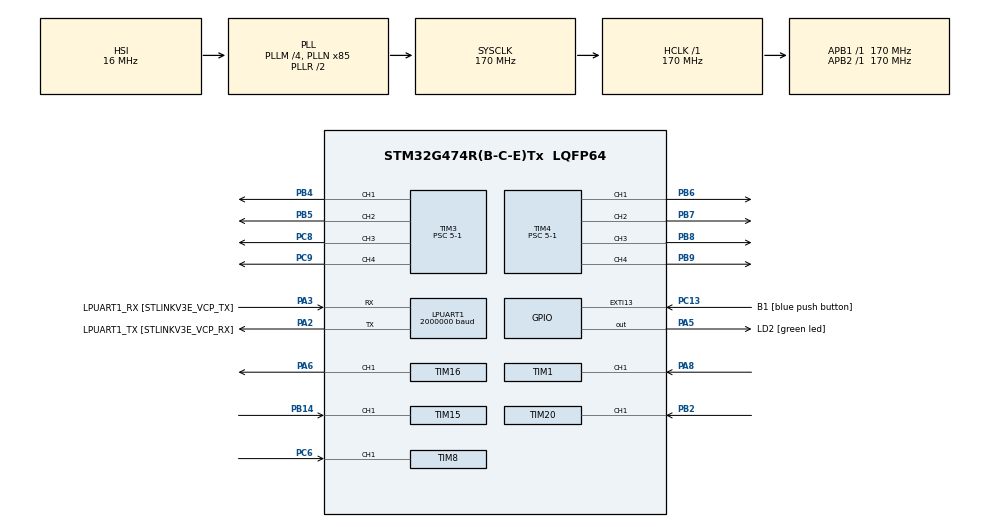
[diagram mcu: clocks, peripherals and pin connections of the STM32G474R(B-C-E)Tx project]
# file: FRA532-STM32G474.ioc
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ARM.CMSIS.5.6.0.CMSISJjCORE=true
ARM.CMSIS.5.6.0.CMSISJjDSP=Library
Dma.LPUART1_RX.1.Direction=DMA_PERIPH_TO_MEMORY
Dma.LPUART1_RX.1.EventEnable=DISABLE
Dma.LPUART1_RX.1.Instance=DMA1_Channel2
Dma.LPUART1_RX.1.MemDataAlignment=DMA_MDATAALIGN_BYTE
Dma.LPUART1_RX.1.MemInc=DMA_MINC_ENABLE
Dma.LPUART1_RX.1.Mode=DMA_CIRCULAR
Dma.LPUART1_RX.1.PeriphDataAlignment=DMA_PDATAALIGN_BYTE
Dma.LPUART1_RX.1.PeriphInc=DMA_PINC_DISABLE
Dma.LPUART1_RX.1.Polarity=HAL_DMAMUX_REQ_GEN_RISING
Dma.LPUART1_RX.1.Priority=DMA_PRIORITY_VERY_HIGH
Dma.LPUART1_RX.1.RequestNumber=1
Dma.LPUART1_RX.1.SignalID=NONE
Dma.LPUART1_RX.1.SyncEnable=DISABLE
Dma.LPUART1_RX.1.SyncPolarity=HAL_DMAMUX_SYNC_NO_EVENT
Dma.LPUART1_RX.1.SyncRequestNumber=1
Dma.LPUART1_RX.1.SyncSignalID=NONE
Dma.LPUART1_TX.2.Direction=DMA_MEMORY_TO_PERIPH
Dma.LPUART1_TX.2.EventEnable=DISABLE
Dma.LPUART1_TX.2.Instance=DMA1_Channel3
Dma.LPUART1_TX.2.MemDataAlignment=DMA_MDATAALIGN_BYTE
Dma.LPUART1_TX.2.MemInc=DMA_MINC_ENABLE
Dma.LPUART1_TX.2.Mode=DMA_NORMAL
Dma.LPUART1_TX.2.PeriphDataAlignment=DMA_PDATAALIGN_BYTE
Dma.LPUART1_TX.2.PeriphInc=DMA_PINC_DISABLE
Dma.LPUART1_TX.2.Polarity=HAL_DMAMUX_REQ_GEN_RISING
Dma.LPUART1_TX.2.Priority=DMA_PRIORITY_VERY_HIGH
Dma.LPUART1_TX.2.RequestNumber=1
Dma.LPUART1_TX.2.SignalID=NONE
Dma.LPUART1_TX.2.SyncEnable=DISABLE
Dma.LPUART1_TX.2.SyncPolarity=HAL_DMAMUX_SYNC_NO_EVENT
Dma.LPUART1_TX.2.SyncRequestNumber=1
Dma.LPUART1_TX.2.SyncSignalID=NONE
Dma.Request0=TIM16_CH1
Dma.Request1=LPUART1_RX
Dma.Request2=LPUART1_TX
Dma.TIM16_CH1.0.Direction=DMA_MEMORY_TO_PERIPH
Dma.TIM16_CH1.0.EventEnable=DISABLE
Dma.TIM16_CH1.0.Instance=DMA1_Channel1
Dma.TIM16_CH1.0.MemDataAlignment=DMA_MDATAALIGN_HALFWORD
Dma.TIM16_CH1.0.MemInc=DMA_MINC_ENABLE
Dma.TIM16_CH1.0.Mode=DMA_NORMAL
Dma.TIM16_CH1.0.PeriphDataAlignment=DMA_PDATAALIGN_HALFWORD
Dma.TIM16_CH1.0.PeriphInc=DMA_PINC_DISABLE
Dma.TIM16_CH1.0.Polarity=HAL_DMAMUX_REQ_GEN_RISING
Dma.TIM16_CH1.0.Priority=DMA_PRIORITY_LOW
Dma.TIM16_CH1.0.RequestNumber=1
Dma.TIM16_CH1.0.SignalID=NONE
Dma.TIM16_CH1.0.SyncEnable=DISABLE
Dma.TIM16_CH1.0.SyncPolarity=HAL_DMAMUX_SYNC_NO_EVENT
Dma.TIM16_CH1.0.SyncRequestNumber=1
Dma.TIM16_CH1.0.SyncSignalID=NONE
FREERTOS.Tasks01=defaultTask,24,4000,StartDefaultTask,Default,NULL,Static,defaultTaskBuffer,defaultTaskControlBlock;secondTask,16,1000,StartSecondTask,Default,NULL,Static,secondTaskBuffer,secondTaskControlBlock
FREERTOS.configENABLE_FPU=1
FREERTOS.configUSE_NEWLIB_REENTRANT=1
LPUART1.BaudRate=2000000
LPUART1.WordLength=UART_WORDLENGTH_8B
Mcu.Family=STM32G4
Mcu.Name=STM32G474R(B-C-E)Tx
Mcu.Package=LQFP64
NVIC.DMA1_Channel1_IRQn=true\:5\:0\:false\:false\:true\:true\:false\:true\:true
NVIC.DMA1_Channel2_IRQn=true\:5\:0\:false\:false\:true\:true\:false\:true\:true
NVIC.DMA1_Channel3_IRQn=true\:5\:0\:false\:false\:true\:true\:false\:true\:true
NVIC.EXTI15_10_IRQn=true\:5\:0\:false\:false\:true\:true\:true\:true\:true
NVIC.LPUART1_IRQn=true\:5\:0\:false\:false\:true\:true\:true\:true\:true
NVIC.PriorityGroup=NVIC_PRIORITYGROUP_4
NVIC.TIM1_BRK_TIM15_IRQn=true\:5\:0\:false\:false\:true\:true\:true\:true\:true
NVIC.TIM1_CC_IRQn=true\:5\:0\:false\:false\:true\:true\:true\:true\:true
NVIC.TIM1_TRG_COM_TIM17_IRQn=true\:5\:0\:false\:false\:true\:true\:true\:true\:true
NVIC.TIM20_CC_IRQn=true\:5\:0\:false\:false\:true\:true\:true\:true\:true
NVIC.TIM6_DAC_IRQn=true\:5\:0\:false\:false\:true\:true\:true\:true\:true
NVIC.TIM7_DAC_IRQn=true\:15\:0\:false\:false\:true\:false\:false\:true\:true
NVIC.TIM8_CC_IRQn=true\:5\:0\:false\:false\:true\:true\:true\:true\:true
NVIC.TimeBase=TIM7_DAC_IRQn
NVIC.TimeBaseIP=TIM7
PA13.GPIO_Label=T_SWDIO
PA13.Mode=Serial_Wire
PA13.Signal=SYS_JTMS-SWDIO
PA14.GPIO_Label=T_SWCLK
PA14.Mode=Serial_Wire
PA14.Signal=SYS_JTCK-SWCLK
PA2.GPIO_Label=LPUART1_TX [STLINKV3E_VCP_RX]
PA2.Mode=Asynchronous
PA2.Signal=LPUART1_TX
PA3.GPIO_Label=LPUART1_RX [STLINKV3E_VCP_TX]
PA3.Mode=Asynchronous
PA3.Signal=LPUART1_RX
PA5.GPIO_Label=LD2 [green led]
PA5.Signal=GPIO_Output
PA6.Signal=S_TIM16_CH1
PA8.Signal=S_TIM1_CH1
PB14.Signal=S_TIM15_CH1
PB2.Signal=S_TIM20_CH1
PB4.Signal=S_TIM3_CH1
PB5.Signal=S_TIM3_CH2
PB6.Signal=S_TIM4_CH1
PB7.Signal=S_TIM4_CH2
PB8-BOOT0.Signal=S_TIM4_CH3
PB9.Signal=S_TIM4_CH4
PC13.GPIO_Label=B1 [blue push button]
PC13.Signal=GPXTI13
PC14-OSC32_IN.Mode=LSE-External-Oscillator
PC14-OSC32_IN.Signal=RCC_OSC32_IN
PC15-OSC32_OUT.Mode=LSE-External-Oscillator
PC15-OSC32_OUT.Signal=RCC_OSC32_OUT
PC6.Signal=S_TIM8_CH1
PC8.Signal=S_TIM3_CH3
PC9.Signal=S_TIM3_CH4
PF0-OSC_IN.Mode=HSE-External-Oscillator
PF0-OSC_IN.Signal=RCC_OSC_IN
PF1-OSC_OUT.Mode=HSE-External-Oscillator
PF1-OSC_OUT.Signal=RCC_OSC_OUT
ProjectManager.HeapSize=0x200
ProjectManager.StackSize=0x400
ProjectManager.TargetToolchain=STM32CubeIDE
RCC.ADC12Freq_Value=170000000
RCC.ADC345Freq_Value=170000000
RCC.AHBFreq_Value=170000000
RCC.APB1Freq_Value=170000000
RCC.APB1TimFreq_Value=170000000
RCC.APB2Freq_Value=170000000
RCC.APB2TimFreq_Value=170000000
RCC.CortexFreq_Value=170000000
RCC.EXTERNAL_CLOCK_VALUE=12288000
RCC.HCLKFreq_Value=170000000
RCC.HSE_VALUE=24000000
RCC.HSI48_VALUE=48000000
RCC.HSI_VALUE=16000000
RCC.PLLM=RCC_PLLM_DIV4
RCC.PLLN=85
RCC.RTCClockSelection=RCC_RTCCLKSOURCE_LSE
RCC.SYSCLKFreq_VALUE=170000000
RCC.SYSCLKSource=RCC_SYSCLKSOURCE_PLLCLK
RCC.USBFreq_Value=170000000
RCC.VCOOutputFreq_Value=340000000
SH.S_TIM15_CH1.0=TIM15_CH1,PWM_Input_1
SH.S_TIM16_CH1.0=TIM16_CH1,PWM Generation1 CH1
SH.S_TIM1_CH1.0=TIM1_CH1,PWM_Input_1
SH.S_TIM20_CH1.0=TIM20_CH1,PWM_Input_1
SH.S_TIM3_CH1.0=TIM3_CH1,PWM Generation1 CH1
SH.S_TIM3_CH2.0=TIM3_CH2,PWM Generation2 CH2
SH.S_TIM3_CH3.0=TIM3_CH3,PWM Generation3 CH3
SH.S_TIM3_CH4.0=TIM3_CH4,PWM Generation4 CH4
SH.S_TIM4_CH1.0=TIM4_CH1,PWM Generation1 CH1
SH.S_TIM4_CH2.0=TIM4_CH2,PWM Generation2 CH2
SH.S_TIM4_CH3.0=TIM4_CH3,PWM Generation3 CH3
SH.S_TIM4_CH4.0=TIM4_CH4,PWM Generation4 CH4
SH.S_TIM8_CH1.0=TIM8_CH1,PWM_Input_1
TIM1.PeriodNoDither=1080-1
TIM1.Prescaler=170-1
TIM15.PeriodNoDither=1100-1
TIM15.Prescaler=170-1
TIM16.Channel=TIM_CHANNEL_1
TIM16.PeriodNoDither=212-1
TIM17.PeriodNoDither=10000-1
TIM17.Prescaler=170-1
TIM20.PeriodNoDither=1080-1
TIM20.Prescaler=170-1
TIM3.Channel-PWM\ Generation1\ CH1=TIM_CHANNEL_1
TIM3.Channel-PWM\ Generation2\ CH2=TIM_CHANNEL_2
TIM3.Channel-PWM\ Generation3\ CH3=TIM_CHANNEL_3
TIM3.Channel-PWM\ Generation4\ CH4=TIM_CHANNEL_4
TIM3.Prescaler=5-1
TIM4.Channel-PWM\ Generation1\ CH1=TIM_CHANNEL_1
TIM4.Channel-PWM\ Generation2\ CH2=TIM_CHANNEL_2
TIM4.Channel-PWM\ Generation3\ CH3=TIM_CHANNEL_3
TIM4.Channel-PWM\ Generation4\ CH4=TIM_CHANNEL_4
TIM4.Prescaler=5-1
TIM6.PeriodNoDither=1000-1
TIM6.Prescaler=170-1
TIM8.PeriodNoDither=1080-1
TIM8.Prescaler=170-1
VP_ARM.CMSIS_VS_CMSISJjCORE_5.3.0_5.6.0.Mode=CMSISJjCORE
VP_ARM.CMSIS_VS_CMSISJjDSP_1.7.0_5.6.0.Mode=CMSISJjDSP
VP_FREERTOS_VS_CMSIS_V2.Mode=CMSIS_V2
VP_SYS_VS_DBSignals.Mode=DisableDeadBatterySignals
VP_SYS_VS_tim7.Mode=TIM7
VP_TIM15_VS_ClockSourceINT.Mode=Internal
VP_TIM16_VS_ClockSourceINT.Mode=Enable_Timer
VP_TIM17_VS_ClockSourceINT.Mode=Enable_Timer
VP_TIM1_VS_ClockSourceINT.Mode=Internal
VP_TIM20_VS_ClockSourceINT.Mode=Internal
VP_TIM3_VS_ClockSourceINT.Mode=Internal
VP_TIM4_VS_ClockSourceINT.Mode=Internal
VP_TIM6_VS_ClockSourceINT.Mode=Enable_Timer
VP_TIM8_VS_ClockSourceINT.Mode=Internal
board=NUCLEO-G474RE

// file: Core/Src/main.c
/* USER CODE BEGIN Header */
/**
 ******************************************************************************
 * @file           : main.c
 * @brief          : Main program body
 ******************************************************************************
 * @attention
 *
 * Copyright (c) 2024 STMicroelectronics.
 * All rights reserved.
 *
 * This software is licensed under terms that can be found in the LICENSE file
 * in the root directory of this software component.
 * If no LICENSE file comes with this software, it is provided AS-IS.
 *
 ******************************************************************************
 */
/* USER CODE END Header */
#include "main.h"
#include "cmsis_os.h"
#include "dma.h"
#include "usart.h"
#include "tim.h"
#include "gpio.h"

/* USER CODE BEGIN Includes */

#include "math.h"
#include "arm_math.h"
#include "motors.h"
#include "encoder.h"
#include "string.h"
#include "kalman.h"
#include "config+var.h"

/* USER CODE END Includes */

/* USER CODE BEGIN PV */

uint32_t ms_count = 0;

/* USER CODE END PV */

void SystemClock_Config(void);
void MX_FREERTOS_Init(void);
/* USER CODE BEGIN PFP */

uint64_t micros();
void Controller(uint8_t motor_ID[], float target_vel[], int num_motors);
void speedRamp();

/* USER CODE END PFP */

int main(void)
{

  /* MCU Configuration--------------------------------------------------------*/

  /* Reset of all peripherals, Initializes the Flash interface and the Systick. */
  HAL_Init();

  /* Configure the system clock */
  SystemClock_Config();

  /* Initialize all configured peripherals */
  MX_GPIO_Init();
  MX_DMA_Init();
  MX_LPUART1_UART_Init();
  MX_TIM3_Init();
  MX_TIM4_Init();
  MX_TIM6_Init();
  MX_TIM15_Init();
  MX_TIM20_Init();
  MX_TIM8_Init();
  MX_TIM16_Init();
  MX_TIM1_Init();
  MX_TIM17_Init();
  /* USER CODE BEGIN 2 */

	// Initialize Kalman filters
	Kalman_Start(&filterA);
	Kalman_Start(&filterB);
	Kalman_Start(&filterC);
	Kalman_Start(&filterD);

	// Start PWM outputs
	HAL_TIM_PWM_Start(&htim3, TIM_CHANNEL_1);
	HAL_TIM_PWM_Start(&htim3, TIM_CHANNEL_2);
	HAL_TIM_PWM_Start(&htim3, TIM_CHANNEL_3);
	HAL_TIM_PWM_Start(&htim3, TIM_CHANNEL_4);
	HAL_TIM_PWM_Start(&htim4, TIM_CHANNEL_1);
	HAL_TIM_PWM_Start(&htim4, TIM_CHANNEL_2);
	HAL_TIM_PWM_Start(&htim4, TIM_CHANNEL_3);
	HAL_TIM_PWM_Start(&htim4, TIM_CHANNEL_4);

	// Start PWM outputs
	HAL_TIM_IC_Start_IT(&htim1, TIM_CHANNEL_1);
	HAL_TIM_IC_Start(&htim1, TIM_CHANNEL_2);
	HAL_TIM_IC_Start_IT(&htim8, TIM_CHANNEL_1);
	HAL_TIM_IC_Start(&htim8, TIM_CHANNEL_2);
	HAL_TIM_IC_Start_IT(&htim15, TIM_CHANNEL_1);
	HAL_TIM_IC_Start(&htim15, TIM_CHANNEL_2);
	HAL_TIM_IC_Start_IT(&htim20, TIM_CHANNEL_1);
	HAL_TIM_IC_Start(&htim20, TIM_CHANNEL_2);

	// Start timer for other functions
	HAL_TIM_Base_Start_IT(&htim6);  // microsecond timer, 1 kHz
	HAL_TIM_Base_Start_IT(&htim17); // Calculate speed timer, 100 Hz

  /* USER CODE END 2 */

  /* Init scheduler */
  osKernelInitialize();

  /* Call init function for freertos objects (in freertos.c) */
  MX_FREERTOS_Init();

  /* Start scheduler */
  osKernelStart();

  /* We should never get here as control is now taken by the scheduler */
  /* Infinite loop */
	while (1) {

	}
}

void SystemClock_Config(void)
{
  RCC_OscInitTypeDef RCC_OscInitStruct = {0};
  RCC_ClkInitTypeDef RCC_ClkInitStruct = {0};

  /** Configure the main internal regulator output voltage
  */
  HAL_PWREx_ControlVoltageScaling(PWR_REGULATOR_VOLTAGE_SCALE1_BOOST);

  /** Initializes the RCC Oscillators according to the specified parameters
  * in the RCC_OscInitTypeDef structure.
  */
  RCC_OscInitStruct.OscillatorType = RCC_OSCILLATORTYPE_HSI;
  RCC_OscInitStruct.HSIState = RCC_HSI_ON;
  RCC_OscInitStruct.HSICalibrationValue = RCC_HSICALIBRATION_DEFAULT;
  RCC_OscInitStruct.PLL.PLLState = RCC_PLL_ON;
  RCC_OscInitStruct.PLL.PLLSource = RCC_PLLSOURCE_HSI;
  RCC_OscInitStruct.PLL.PLLM = RCC_PLLM_DIV4;
  RCC_OscInitStruct.PLL.PLLN = 85;
  RCC_OscInitStruct.PLL.PLLP = RCC_PLLP_DIV2;
  RCC_OscInitStruct.PLL.PLLQ = RCC_PLLQ_DIV2;
  RCC_OscInitStruct.PLL.PLLR = RCC_PLLR_DIV2;
  if (HAL_RCC_OscConfig(&RCC_OscInitStruct) != HAL_OK)
  {
    Error_Handler();
  }

  /** Initializes the CPU, AHB and APB buses clocks
  */
  RCC_ClkInitStruct.ClockType = RCC_CLOCKTYPE_HCLK|RCC_CLOCKTYPE_SYSCLK
                              |RCC_CLOCKTYPE_PCLK1|RCC_CLOCKTYPE_PCLK2;
  RCC_ClkInitStruct.SYSCLKSource = RCC_SYSCLKSOURCE_PLLCLK;
  RCC_ClkInitStruct.AHBCLKDivider = RCC_SYSCLK_DIV1;
  RCC_ClkInitStruct.APB1CLKDivider = RCC_HCLK_DIV1;
  RCC_ClkInitStruct.APB2CLKDivider = RCC_HCLK_DIV1;

  if (HAL_RCC_ClockConfig(&RCC_ClkInitStruct, FLASH_LATENCY_4) != HAL_OK)
  {
    Error_Handler();
  }
}

/* USER CODE BEGIN 4 */

void speedRamp() {
#define RAMP_FREQ_INV 1.0/100.0
	for (int i = 0; i < 4; i++) {
		float diff = target_vel_unramped[i] - target_vel_ramped[i];
		if (diff > 0) {
			// increase speed
			if (diff > RAMP_ACCEL * RAMP_FREQ_INV) {
				target_vel_ramped[i] += RAMP_ACCEL * RAMP_FREQ_INV;
			} else {
				target_vel_ramped[i] += diff * RAMP_FREQ_INV;
			}
		} else if (diff < 0) {
			// decrease speed
			if (diff < -RAMP_ACCEL * RAMP_FREQ_INV) {
				target_vel_ramped[i] -= RAMP_ACCEL * RAMP_FREQ_INV;
			} else {
				target_vel_ramped[i] += diff * RAMP_FREQ_INV;
			}
		}
	}
}

void Controller(uint8_t motor_ID[], float target_vel[], int num_motors) {
	for (int i = 0; i < num_motors; i++) {
		static double u_pid = 0;
		static double integral[4];

		double e[4];
		double u_ffw = 0.458 * target_vel[i];
		e[i] = target_vel[i] - vel[i];

		double proportional = Kp * e[i];
		integral[i] += Ki * e[i] * 0.001;

		if (fabs(e[i]) < 0.2) {
			integral[i] = 0;
		}

		u_pid = proportional + integral[i];

		double u = u_ffw + u_pid;

		if (u > 12) {
			u = 12;
		} else if (u < -12) {
			u = -12;
		}
		volt[i] = u;
		setMotor(motor_ID[i], u * 100 / 12);

		if (motor_ID[i] == 1) {
			vel[i] = SteadyStateKalmanFilter(&filterA, volt[i], motor_speed[i] * 2 * 3.14);
			float ekalmanvel = fabs(motor_speed[i] - vel[i]);
			if (ekalmanvel > 0.67 * volt[i]) {
				filterA.R[0] = 300 - ekalmanvel * 10;
			} else {
				filterA.R[0] = 300 - ekalmanvel * 1000;
			}

			if (filterA.R[0] < 0) {
				filterA.R[0] = 0.001;
			}
		}

		else if (motor_ID[i] == 2) {
			vel[i] = SteadyStateKalmanFilter(&filterB, volt[i], motor_speed[i] * 2 * 3.14);
			float ekalmanvel = fabs(motor_speed[i] - vel[i]);
			if (ekalmanvel > 0.67 * volt[i]) {
				filterB.R[0] = 300 - ekalmanvel * 10;
			} else {
				filterB.R[0] = 300 - ekalmanvel * 1000;
			}

			if (filterB.R[0] < 0) {
				filterB.R[0] = 0.001;
			}
		}

		else if (motor_ID[i] == 3) {
			vel[i] = SteadyStateKalmanFilter(&filterC, volt[i], motor_speed[i] * 2 * 3.14);
			float ekalmanvel = fabs(motor_speed[i] - vel[i]);
			if (ekalmanvel > 0.67 * volt[i]) {
				filterC.R[0] = 300 - ekalmanvel * 10;
			} else {
				filterC.R[0] = 300 - ekalmanvel * 1000;
			}

			if (filterC.R[0] < 0) {
				filterC.R[0] = 0.001;
			}
		}

		else if (motor_ID[i] == 4) {
			vel[i] = SteadyStateKalmanFilter(&filterD, volt[i], motor_speed[i] * 2 * 3.14);
			float ekalmanvel = fabs(motor_speed[i] - vel[i]);
			if (ekalmanvel > 0.67 * volt[i]) {
				filterD.R[0] = 300 - ekalmanvel * 10;
			} else {
				filterD.R[0] = 300 - ekalmanvel * 1000;
			}

			if (filterD.R[0] < 0) {
				filterD.R[0] = 0.001;
			}
		}
	}
}

void HAL_GPIO_EXTI_Callback(uint16_t GPIO_Pin) {
	if (GPIO_Pin == GPIO_PIN_13) {
		static uint32_t last_time = 0;
		uint32_t time = HAL_GetTick();
		if (time - last_time < 200)
			return;
		last_time = time;

		// debounced button
		// insert debug code here
	}
}

uint64_t micros() {
	return ms_count * 1000 + __HAL_TIM_GET_COUNTER(&htim6);
}

void HAL_TIM_IC_CaptureCallback(TIM_HandleTypeDef *htim) {
	encoderCallback(htim);
}

/* USER CODE END 4 */

void HAL_TIM_PeriodElapsedCallback(TIM_HandleTypeDef *htim)
{
  /* USER CODE BEGIN Callback 0 */

	if (htim->Instance == TIM6) {
		// 1 kHz loop
		ms_count++;
		Controller(motor_ID, target_vel_ramped, 4);
	}

	if (htim->Instance == TIM17) {
		calculateMotorSpeed();
		speedRamp(); // remember to set loop frequency
	}

  /* USER CODE END Callback 0 */
  if (htim->Instance == TIM7) {
    HAL_IncTick();
  }
}

void Error_Handler(void)
{
	__disable_irq();
	while (1) {
	}
}

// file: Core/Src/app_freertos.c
/* USER CODE BEGIN Header */
/**
  ******************************************************************************
  * File Name          : app_freertos.c
  * Description        : Code for freertos applications
  ******************************************************************************
  * @attention
  *
  * Copyright (c) 2024 STMicroelectronics.
  * All rights reserved.
  *
  * This software is licensed under terms that can be found in the LICENSE file
  * in the root directory of this software component.
  * If no LICENSE file comes with this software, it is provided AS-IS.
  *
  ******************************************************************************
  */
/* USER CODE END Header */

#include "FreeRTOS.h"
#include "task.h"
#include "main.h"
#include "cmsis_os.h"

/* USER CODE BEGIN Includes */

#include "math.h"
#include "arm_math.h"
#include "WS2812B.h"
#include "usart.h"
#include "motors.h"
#include "config+var.h"
#include <stdio.h>
#include <stdbool.h>

#include <rcl/rcl.h>
#include <rclc/rclc.h>
#include <rclc/executor.h>
#include <rcl/error_handling.h>
#include <uxr/client/transport.h>
#include <rmw_microxrcedds_c/config.h>
#include <rmw_microros/rmw_microros.h>

#include <std_msgs/msg/int32.h>
#include <std_msgs/msg/int64.h>
#include <geometry_msgs/msg/twist.h>
#include <std_msgs/msg/float32_multi_array.h>

/* USER CODE END Includes */

typedef StaticTask_t osStaticThreadDef_t;

/* USER CODE BEGIN PD */

//#define RCCHECK(fn) { rcl_ret_t temp_rc = fn; if((temp_rc != RCL_RET_OK)){error_loop();}}
#define RCSOFTCHECK(fn) { rcl_ret_t temp_rc = fn; if((temp_rc != RCL_RET_OK)){}}

/* USER CODE END PD */

/* USER CODE BEGIN Variables */

uint32_t LEDtime = 0;

float cmd_x = 0;
float cmd_y = 0;
float cmd_w = 0;

/* USER CODE END Variables */
/* Definitions for defaultTask */
osThreadId_t defaultTaskHandle;
uint32_t defaultTaskBuffer[ 4000 ];
osStaticThreadDef_t defaultTaskControlBlock;
const osThreadAttr_t defaultTask_attributes = {
  .name = "defaultTask",
  .stack_mem = &defaultTaskBuffer[0],
  .stack_size = sizeof(defaultTaskBuffer),
  .cb_mem = &defaultTaskControlBlock,
  .cb_size = sizeof(defaultTaskControlBlock),
  .priority = (osPriority_t) osPriorityNormal,
};
/* Definitions for secondTask */
osThreadId_t secondTaskHandle;
uint32_t secondTaskBuffer[ 1000 ];
osStaticThreadDef_t secondTaskControlBlock;
const osThreadAttr_t secondTask_attributes = {
  .name = "secondTask",
  .stack_mem = &secondTaskBuffer[0],
  .stack_size = sizeof(secondTaskBuffer),
  .cb_mem = &secondTaskControlBlock,
  .cb_size = sizeof(secondTaskControlBlock),
  .priority = (osPriority_t) osPriorityBelowNormal,
};

/* USER CODE BEGIN FunctionPrototypes */

bool cubemx_transport_open(struct uxrCustomTransport * transport);
bool cubemx_transport_close(struct uxrCustomTransport * transport);
size_t cubemx_transport_write(struct uxrCustomTransport* transport, const uint8_t * buf, size_t len, uint8_t * err);
size_t cubemx_transport_read(struct uxrCustomTransport* transport, uint8_t* buf, size_t len, int timeout, uint8_t* err);

void * microros_allocate(size_t size, void * state);
void microros_deallocate(void * pointer, void * state);
void * microros_reallocate(void * pointer, size_t size, void * state);
void * microros_zero_allocate(size_t number_of_elements, size_t size_of_element, void * state);

void RGB_Rainbow(uint8_t dobreathing);

void cmd_vel_callback(const void *msgin);
void publish_wheel_speeds();

/* USER CODE END FunctionPrototypes */

void StartDefaultTask(void *argument);
void StartSecondTask(void *argument);

void MX_FREERTOS_Init(void); /* (MISRA C 2004 rule 8.1) */

void MX_FREERTOS_Init(void) {

  /* Create the thread(s) */
  /* creation of defaultTask */
  defaultTaskHandle = osThreadNew(StartDefaultTask, NULL, &defaultTask_attributes);

  /* creation of secondTask */
  secondTaskHandle = osThreadNew(StartSecondTask, NULL, &secondTask_attributes);

}

/* USER CODE BEGIN Header_StartDefaultTask */
/**
  * @brief  Function implementing the defaultTask thread.
  * @param  argument: Not used
  * @retval None
  */

// micro-ROS objects [STEP 1]
rclc_executor_t executor;
rclc_support_t support;
rcl_allocator_t allocator;
rcl_node_t node;

rcl_publisher_t status_publisher;
std_msgs__msg__Int64 msg;

rcl_subscription_t cmd_vel_subscriber;
geometry_msgs__msg__Twist cmd_vel_msg;

rcl_publisher_t wheel_speeds_publisher;
std_msgs__msg__Float32MultiArray wheel_speeds_msg;

// rcl_timer_t defaultTimer;

/* USER CODE END Header_StartDefaultTask */
void StartDefaultTask(void *argument)
{
  /* USER CODE BEGIN StartDefaultTask */
	/* Infinite loop */

	rmw_uros_set_custom_transport(true, (void*) &hlpuart1, cubemx_transport_open, cubemx_transport_close,
			cubemx_transport_write, cubemx_transport_read);

	rcl_allocator_t freeRTOS_allocator = rcutils_get_zero_initialized_allocator();
	freeRTOS_allocator.allocate = microros_allocate;
	freeRTOS_allocator.deallocate = microros_deallocate;
	freeRTOS_allocator.reallocate = microros_reallocate;
	freeRTOS_allocator.zero_allocate = microros_zero_allocate;

	if (!rcutils_set_default_allocator(&freeRTOS_allocator)) {
		printf("Error on default allocators (line %d)\n", __LINE__);
	}

	// Initialize micro-ROS
	allocator = rcl_get_default_allocator();
	rclc_support_init(&support, 0, NULL, &allocator);
	rclc_node_init_default(&node, "STM32_node", "", &support);

	// sync time
	rmw_uros_sync_session(1000);

	// init publishers, subscribers and timers [STEP 2]
	rclc_publisher_init_default(&status_publisher, &node, ROSIDL_GET_MSG_TYPE_SUPPORT(std_msgs, msg, Int64), "STM32_status");
	rclc_subscription_init_default(&cmd_vel_subscriber, &node, ROSIDL_GET_MSG_TYPE_SUPPORT(geometry_msgs, msg, Twist), "cmd_vel");
	rclc_publisher_init_default(&wheel_speeds_publisher, &node, ROSIDL_GET_MSG_TYPE_SUPPORT(std_msgs, msg, Float32MultiArray), "wheel_speeds");
	// rclc_timer_init_default(&defaultTimer, &support, RCL_MS_TO_NS(1000), &timerCallback);

	// create executor [STEP 3]
	rclc_executor_init(&executor, &support.context, 1, &allocator); // DON'T FOTGET: Increase the number of handles
	rclc_executor_add_subscription(&executor, &cmd_vel_subscriber, &cmd_vel_msg, &cmd_vel_callback, ON_NEW_DATA);
	// rclc_executor_add_timer(&executor, &defaultTimer);

	msg.data = 0;

	for (;;) {

		// spin the executor (must do to receive data)
		rclc_executor_spin_some(&executor, 0);

		// msg.data++;
		msg.data = rmw_uros_epoch_millis();
		RCSOFTCHECK(rcl_publish(&status_publisher, &msg, NULL));

		static uint32_t nextTime = 0;
		if (HAL_GetTick() > nextTime) {
			nextTime = HAL_GetTick() + 10;
			publish_wheel_speeds();
		}

		osThreadYield();

	}
  /* USER CODE END StartDefaultTask */
}

void StartSecondTask(void *argument)
{
  /* USER CODE BEGIN StartSecondTask */
	/* Infinite loop */
	for (;;) {
		RGB_Rainbow(0);
		Set_Brightness(45);
		WS2812_Send();
		osThreadYield();
	}
  /* USER CODE END StartSecondTask */
}

/* USER CODE BEGIN Application */

void cmd_vel_callback(const void *msgin) {
	const geometry_msgs__msg__Twist *msg = (const geometry_msgs__msg__Twist*) msgin;
	cmd_x = msg->linear.x;
	cmd_w = msg->angular.z;
	cmd_y = msg->linear.y;

	// Front Left
	target_vel_unramped[0] = WHEEL_R_INV * (cmd_x - cmd_y - (cmd_w * (WHEEL_DIST_SUM)));
	// Front Right
	target_vel_unramped[1] = WHEEL_R_INV * (cmd_x + cmd_y + (cmd_w * (WHEEL_DIST_SUM)));
	// Rear Left
	target_vel_unramped[2] = WHEEL_R_INV * (cmd_x + cmd_y - (cmd_w * (WHEEL_DIST_SUM)));
	// Rear Right
	target_vel_unramped[3] = WHEEL_R_INV * (cmd_x - cmd_y + (cmd_w * (WHEEL_DIST_SUM)));
}

void publish_wheel_speeds() {
	static bool first_run = true;
	if (first_run) {
		wheel_speeds_msg.data.data = (float*) malloc(4 * sizeof(float));
		first_run = false;
	}

	wheel_speeds_msg.data.size = 4;
	wheel_speeds_msg.data.data[0] = vel[0];
	wheel_speeds_msg.data.data[1] = vel[1];
	wheel_speeds_msg.data.data[2] = vel[2];
	wheel_speeds_msg.data.data[3] = vel[3];

	RCSOFTCHECK(rcl_publish(&wheel_speeds_publisher, &wheel_speeds_msg, NULL));
}

void RGB_Rainbow(uint8_t dobreathing) {
	static uint32_t startTime = 0;
	static const uint32_t transitionDuration = 5000; // Transition duration in milliseconds

	if (HAL_GetTick() - startTime >= transitionDuration) {
		startTime = HAL_GetTick();
	}

	// Calculate time elapsed in the current transition
	uint32_t elapsed = HAL_GetTick() - startTime;

	// Calculate the normalized progress (0.0 to 1.0) within the transition
	float progress = (float) elapsed / transitionDuration;

	// Calculate the hue angle based on the progress
	float hueAngle = 360.0f * progress;

	// Set LED colors based on the hue angle
	for (int i = 0; i < MAX_LED; i++) {
		// Calculate the hue value for the current LED
		float ledHue = hueAngle + (i * (360.0f / MAX_LED));

		// Convert hue to RGB using HSV color model
		float huePrime = fmodf(ledHue / 60.0f, 6.0f);
		float chroma = 1.0f;
		float x = chroma * (1.0f - fabsf(fmodf(huePrime, 2.0f) - 1.0f));

		float red, green, blue;

		if (huePrime >= 0.0f && huePrime < 1.0f) {
			red = chroma;
			green = x;
			blue = 0.0f;
		} else if (huePrime >= 1.0f && huePrime < 2.0f) {
			red = x;
			green = chroma;
			blue = 0.0f;
		} else if (huePrime >= 2.0f && huePrime < 3.0f) {
			red = 0.0f;
			green = chroma;
			blue = x;
		} else if (huePrime >= 3.0f && huePrime < 4.0f) {
			red = 0.0f;
			green = x;
			blue = chroma;
		} else if (huePrime >= 4.0f && huePrime < 5.0f) {
			red = x;
			green = 0.0f;
			blue = chroma;
		} else {
			red = chroma;
			green = 0.0f;
			blue = x;
		}

		// slow fade in
		if (LEDtime == 0) {
			LEDtime = HAL_GetTick();
		}

		float intensity;
		if (HAL_GetTick() - LEDtime < 4000) {
			intensity = (HAL_GetTick() - LEDtime) / 4000.0;
		} else {
			intensity = 1;
		}

		intensity = sqrt(intensity);

		// breathing pattern
		float intensity2;
		if (dobreathing) {
			intensity2 = 0.1 + 0.9 * (0.5 * (1.0 + sinf((2.0 * M_PI * elapsed) / 2000)));
		} else {
			intensity2 = 1.0;
		}

		// Scale RGB values to 0-255 range
		uint8_t r = (uint8_t) (red * 255.0 * intensity * intensity2);
		uint8_t g = (uint8_t) (green * 255.0 * intensity * intensity2);
		uint8_t b = (uint8_t) (blue * 255.0 * intensity * intensity2);

		// Set LED color
		Set_LED(i, r, g, b);
	}
}

/* USER CODE END Application */
